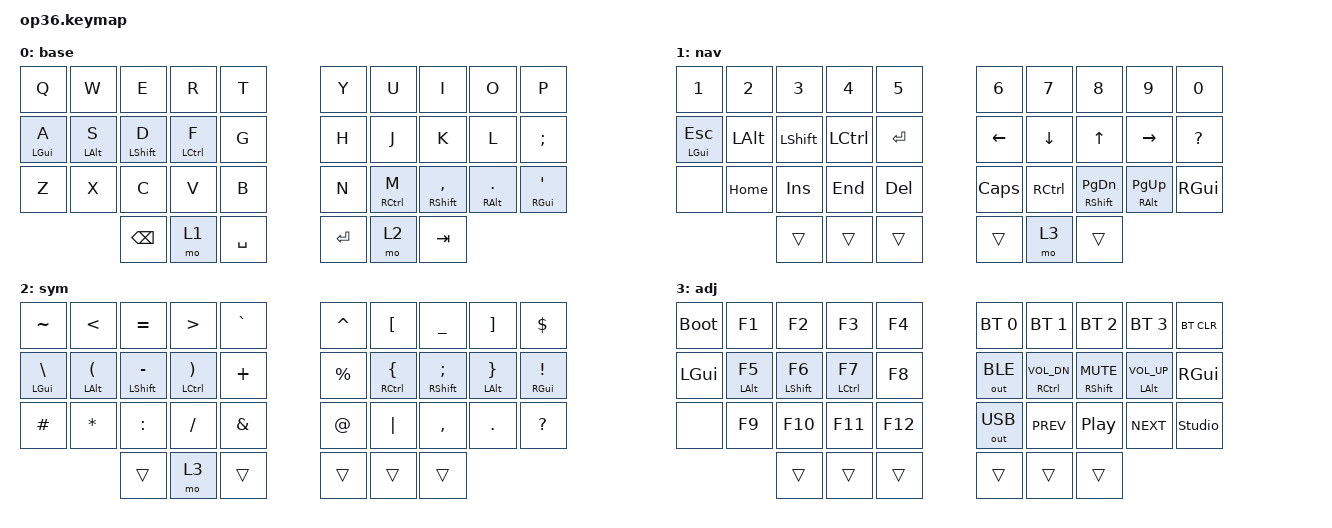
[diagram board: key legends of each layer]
#include "keys_ru.h"
#include <behaviors.dtsi>
#include <dt-bindings/zmk/bt.h>
#include <dt-bindings/zmk/keys.h>
#include <dt-bindings/zmk/outputs.h>

&mt {
    quick-tap-ms = <200>;
    flavor = "tap-preferred";
    require-prior-idle-ms = <125>;
};

/ {
    behaviors {
        hml: home_row_mod_left {
            compatible = "zmk,behavior-hold-tap";
            #binding-cells = <2>;
            flavor = "balanced";
            require-prior-idle-ms = <150>;
            tapping-term-ms = <280>;
            quick-tap-ms = <175>;
            bindings = <&kp>, <&kp>;

            hold-trigger-key-positions = <5 6 7 8 9 15 16 17 18 19 25 26 27 28 29 33 34 35>;
            hold-trigger-on-release;
        };

        hmr: home_row_mod_right {
            compatible = "zmk,behavior-hold-tap";
            #binding-cells = <2>;
            flavor = "balanced";
            require-prior-idle-ms = <150>;
            tapping-term-ms = <280>;
            quick-tap-ms = <175>;
            bindings = <&kp>, <&kp>;

            hold-trigger-key-positions = <0 1 2 3 4 10 11 12 13 14 20 21 22 23 24 30 31 32>;
            hold-trigger-on-release;
        };
    };

    combos {
        compatible = "zmk,combos";

        left_bracket {
            bindings = <&kp LEFT_BRACE>;
            key-positions = <3 4>;
        };

        right_bracket {
            bindings = <&kp RIGHT_BRACE>;
            key-positions = <5 6>;
        };

        left_round {
            bindings = <&kp LEFT_PARENTHESIS>;
            key-positions = <13 14>;
        };

        right_round {
            bindings = <&kp RIGHT_PARENTHESIS>;
            key-positions = <15 16>;
        };

        left_sq {
            bindings = <&kp LEFT_BRACKET>;
            key-positions = <23 24>;
        };

        right_sq {
            bindings = <&kp RIGHT_BRACKET>;
            key-positions = <25 26>;
        };
    };

    keymap {
        compatible = "zmk,keymap";

        base {
            bindings = <
  &kp Q        &kp W        &kp E         &kp R          &kp T                          &kp Y  &kp U                 &kp I                   &kp O               &kp P
  &hml LGUI A  &hml LALT S  &hml LSHFT D  &hml LCTRL F   &kp G                          &kp H  &kp J                 &kp K                   &kp L               &kp SEMICOLON
  &kp Z        &kp X        &kp C         &kp V          &kp B                          &kp N  &hmr RIGHT_CONTROL M  &hmr RIGHT_SHIFT COMMA  &hmr RIGHT_ALT DOT  &hmr RIGHT_GUI SQT
                                          &kp BACKSPACE  &mo 1  &kp SPACE    &kp ENTER  &mo 2  &kp TAB
            >;
        };

        nav {
            bindings = <
  &kp N1         &kp N2    &kp N3     &kp N4     &kp N5                        &kp N6          &kp N7             &kp N8                  &kp N9                &kp N0
  &hml LGUI ESC  &kp LALT  &kp LSHFT  &kp LCTRL  &kp ENTER                     &kp LEFT_ARROW  &kp DOWN           &kp UP                  &kp RIGHT             &kp QMARK
  &none          &kp HOME  &kp INS    &kp END    &kp DELETE                    &kp CAPS        &kp RIGHT_CONTROL  &hmr RIGHT_SHIFT PG_DN  &hmr RIGHT_ALT PG_UP  &kp RIGHT_GUI
                                      &trans     &trans      &trans    &trans  &mo 3           &trans
            >;
        };

        sym {
            bindings = <
  &kp TILDE       &kp LT          &kp EQUAL         &kp GT           &kp GRAVE                        &kp CARET    &kp LBKT         &kp UNDER        &kp RBKT        &kp DOLLAR
  &hml LGUI BSLH  &hml LALT LPAR  &hml LSHFT MINUS  &hml LCTRL RPAR  &kp PLUS                         &kp PRCNT    &hmr RCTRL LBRC  &hmr RSHFT SEMI  &hmr LALT RBRC  &hmr RGUI EXCL
  &kp HASH        &kp STAR        &kp COLON         &kp FSLH         &kp AMPERSAND                    &kp AT_SIGN  &kp PIPE         &kp COMMA        &kp DOT         &kp QMARK
                                                    &trans           &mo 3          &trans    &trans  &trans       &trans
            >;
        };

        adj {
            bindings = <
  &bootloader  &kp F1        &kp F2         &kp F3         &kp F4                     &bt BT_SEL 0  &bt BT_SEL 1         &bt BT_SEL 2       &bt BT_SEL 3        &bt BT_CLR
  &kp LGUI     &hml LALT F5  &hml LSHFT F6  &hml LCTRL F7  &kp F8                     &out OUT_BLE  &hmr RCTRL C_VOL_DN  &hmr RSHFT C_MUTE  &hmr LALT C_VOL_UP  &kp RGUI
  &none        &kp F9        &kp F10        &kp F11        &kp F12                    &out OUT_USB  &kp C_PREV           &kp C_PP           &kp C_NEXT          &studio_unlock
                                            &trans         &trans   &trans    &trans  &trans        &trans
            >;
        };
    };
};
